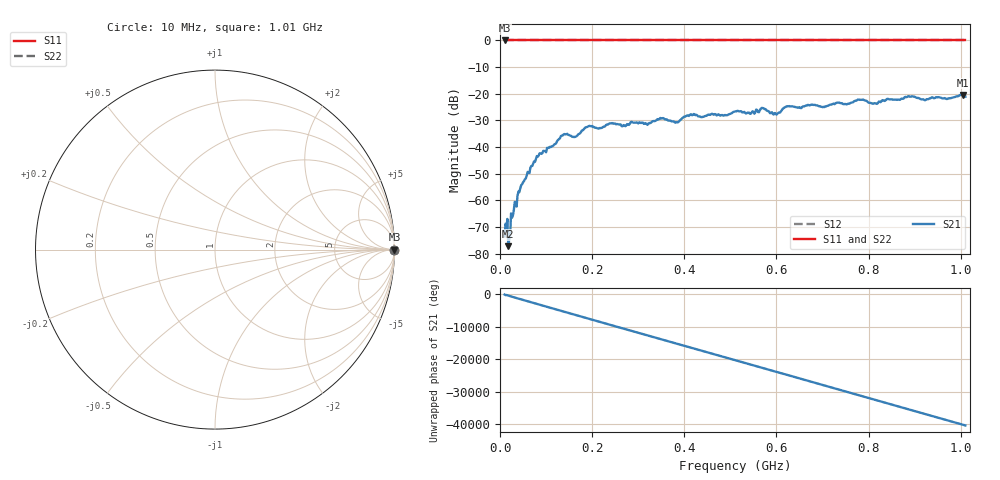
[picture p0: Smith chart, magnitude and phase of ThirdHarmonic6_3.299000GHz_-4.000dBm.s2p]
! 8/17/2025 10:16:45 AM
! C:\ANRITSUVNA\TEMP\TEMP.S2P
! CHANNEL.1
! TR.MEASUREMENT
! RAW.DATA
! RF.CORRECTION.OFF
! AVERAGING.OFF
! IF.BANDWIDTH: 5KHZ
! SWEEPTYPE:  FREQ.SWEEP(Linear)
! Reference Plane Port Info
! PORT:  PORT1  PORT2
! DISTANCE:  0  m  0  m
! TIME:  0  s  0  s
! PHASE.OFFSET:  0  deg.  0  deg.
! LOSS:  0  dB  0  dB
! REF.LOSS:  0  dB  0  dB
! REF.FREQ:  0  Hz  0  Hz
! Power Info
! POWER:  -20  dBm  -20  dBm
! EFF.POWER:  -20  dBm  -20  dBm
! SOURCE.ATTEN:  0  dB  0  dB
! TEST.ATTEN:  0  dB  0  dB
# GHZ S RI R 50.0
! FREQ.GHZ  S11RE  S11IM  S21RE  S21IM  S12RE  S12IM  S22RE  S22IM
!; PortSelection: Port_12
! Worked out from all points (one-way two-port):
!   501 points, 10 MHz to 1.01 GHz, reference 50 ohm
!   highest |S21| = -20.46 dB at 1.004 GHz (marker M1); lowest = -77.2 dB at 18 MHz (marker M2)
!   lowest |S11| = 0.0 dB at 10 MHz (marker M3)
!   |S11| at or under -10 dB: nowhere
!   |S22| runs from 0.0 to 0.0 dB; largest |S21 - S12| = 1.1
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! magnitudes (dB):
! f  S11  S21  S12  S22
! 10 MHz  0.0  -73.6  0.0  0.0
! 12 MHz  0.0  -68.8  0.0  0.0
! 18 MHz  0.0  -77.2  0.0  0.0
! 22 MHz  0.0  -73.6  0.0  0.0
! 28 MHz  0.0  -65.7  0.0  0.0
! 42 MHz  0.0  -56.9  0.0  0.0
! 82 MHz  0.0  -43.7  0.0  0.0
! 136 MHz  0.0  -35.7  0.0  0.0
! 162 MHz  0.0  -36.3  0.0  0.0
! 178 MHz  0.0  -33.8  0.0  0.0
! 196 MHz  0.0  -32.2  0.0  0.0
! 344 MHz  0.0  -29.7  0.0  0.0
! 384 MHz  0.0  -30.7  0.0  0.0
! 416 MHz  0.0  -28.0  0.0  0.0
! 510 MHz  0.0  -26.7  0.0  0.0
! 570 MHz  0.0  -25.4  0.0  0.0
! 598 MHz  0.0  -27.3  0.0  0.0
! 622 MHz  0.0  -24.7  0.0  0.0
! 678 MHz  0.0  -24.1  0.0  0.0
! 844 MHz  0.0  -22.1  0.0  0.0
! 1.004 GHz  0.0  -20.5  0.0  0.0
! 1.01 GHz  0.0  -21.1  0.0  0.0
